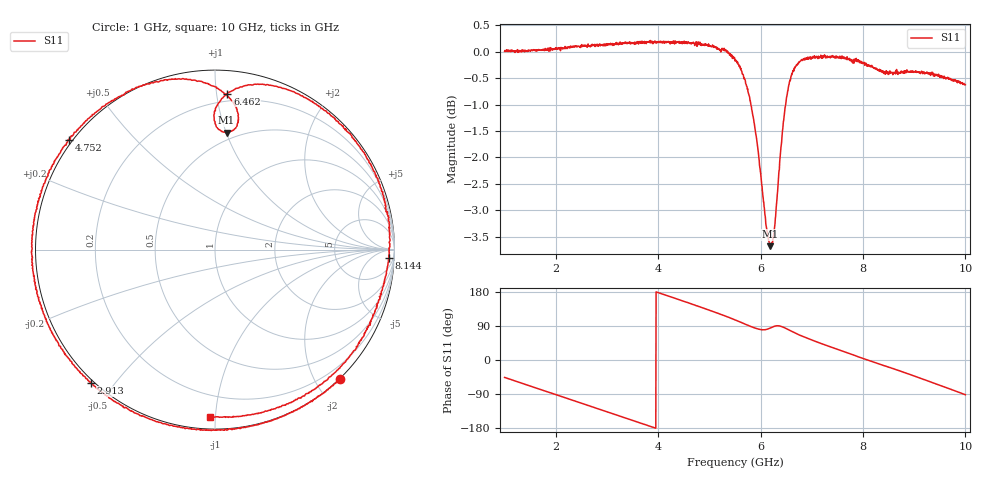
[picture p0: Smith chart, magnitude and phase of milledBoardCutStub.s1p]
# GHz S MA R 50
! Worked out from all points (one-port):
!   1601 points, 1 GHz to 10 GHz, reference 50 ohm
!   lowest |S11| = -3.7 dB at 6.192 GHz (marker M1), VSWR 4.79, Z = 22 + j50.1 ohm
!   |S11| at or under -10 dB: nowhere
!   S11 on the Smith chart (normalised r, x): 1 GHz: -0.00, -2.36; 2.913 GHz: -0.01, -0.44; 4.752 GHz: -0.01, +0.33; 6.462 GHz: 0.15, +1.07; 8.144 GHz: 19, -29; 10 GHz: 0.07, -0.97
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1  1.001 -46.0
1.568125  1.004 -71.8
2.125  1.008 -97.0
2.54125  1.013 -115.9
2.9125  1.015 -132.9
3.25  1.017 -148.1
3.829375  1.021 -174.4
4.375  1.021 160.8
4.751875  1.018 143.0
5.134375  1.009 124.6
5.5  0.98 105.7
5.725  0.9278 93.2
5.9275  0.8233 82.8
6.05125  0.7268 79.7
6.191875  0.6547 84.4
6.338125  0.7451 90.5
6.461875  0.8722 85.5
6.625  0.9562 74.4
6.85  0.9826 60.7
7.13125  0.9902 46.0
7.435  0.9875 31.2
7.75  0.9837 15.8
8.14375  0.9695 -2.7
8.54875  0.9559 -21.0
8.875  0.9565 -36.1
9.44875  0.949 -64.3
9.7525  0.941 -79.2
10  0.9309 -91.7
